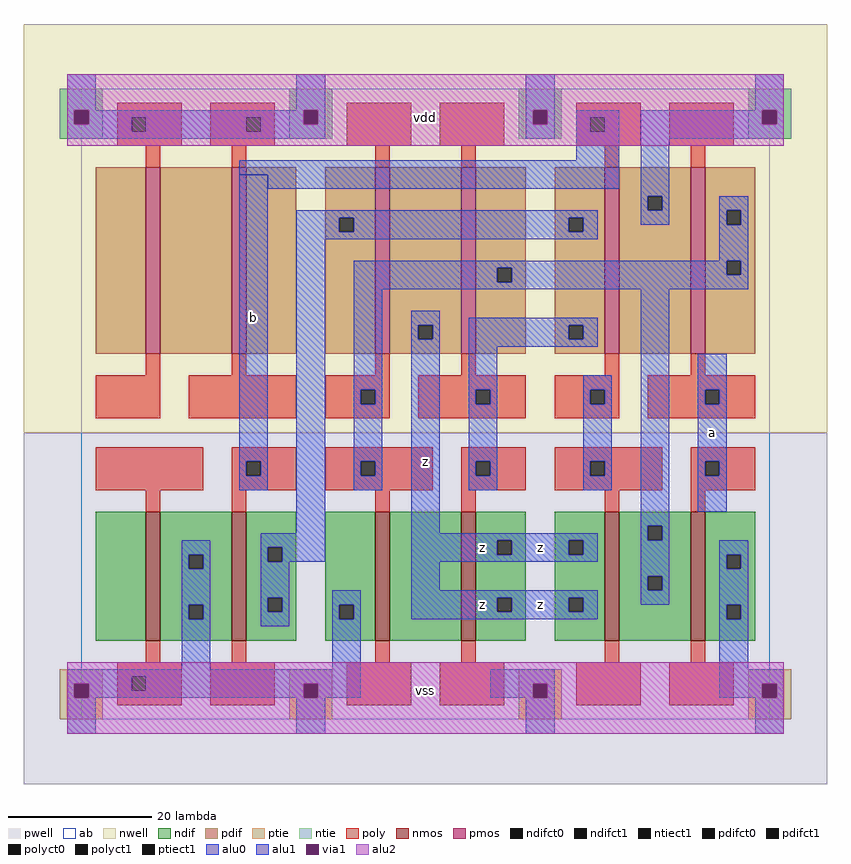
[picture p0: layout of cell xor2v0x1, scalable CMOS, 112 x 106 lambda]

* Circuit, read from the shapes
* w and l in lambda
.subckt xor2v0x1 a b vdd vss z
M1 vss vss n1 vss nfet w=18 l=2
M2 n2 b vss vss nfet w=18 l=2
M3 n3 n4 vss vss nfet w=18 l=2
M4 z n2 n3 vss nfet w=18 l=2
M5 n4 b z vss nfet w=18 l=2
M6 vss a n4 vss nfet w=18 l=2
M7 n5 vdd n6 vdd pfet w=26 l=2
M8 n7 vdd n5 vdd pfet w=26 l=2
M9 z n4 n2 vdd pfet w=26 l=2
M10 n4 n2 z vdd pfet w=26 l=2
M11 vdd b n2 vdd pfet w=26 l=2
M12 n4 a vdd vdd pfet w=26 l=2
.ends

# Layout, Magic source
magic
tech scmos
<< ab >>
rect 0 0 96 88
<< nwell >>
rect -8 40 104 97
<< pwell >>
rect -8 -9 104 40
<< poly >>
rect 5 84 14 86
rect 5 82 7 84
rect 9 82 14 84
rect 5 80 14 82
rect 18 84 27 86
rect 18 82 23 84
rect 25 82 27 84
rect 18 80 27 82
rect 37 80 46 86
rect 50 80 59 86
rect 69 84 78 86
rect 69 82 71 84
rect 73 82 78 84
rect 69 80 78 82
rect 82 80 91 86
rect 9 77 11 80
rect 21 77 23 80
rect 41 77 43 80
rect 53 77 55 80
rect 73 77 75 80
rect 85 77 87 80
rect 9 48 11 51
rect 21 48 23 51
rect 41 48 43 51
rect 53 48 55 51
rect 73 48 75 51
rect 85 48 87 51
rect 2 42 11 48
rect 15 42 30 48
rect 34 46 43 48
rect 34 44 39 46
rect 41 44 43 46
rect 34 42 43 44
rect 47 46 62 48
rect 47 44 55 46
rect 57 44 62 46
rect 47 42 62 44
rect 66 46 75 48
rect 66 44 71 46
rect 73 44 75 46
rect 66 42 75 44
rect 79 46 94 48
rect 79 44 87 46
rect 89 44 94 46
rect 79 42 94 44
rect 2 32 17 38
rect 21 36 30 38
rect 21 34 23 36
rect 25 34 30 36
rect 21 32 30 34
rect 34 36 49 38
rect 34 34 39 36
rect 41 34 49 36
rect 34 32 49 34
rect 53 36 62 38
rect 53 34 55 36
rect 57 34 62 36
rect 53 32 62 34
rect 66 36 81 38
rect 66 34 71 36
rect 73 34 81 36
rect 66 32 81 34
rect 85 36 94 38
rect 85 34 87 36
rect 89 34 94 36
rect 85 32 94 34
rect 9 29 11 32
rect 21 29 23 32
rect 41 29 43 32
rect 53 29 55 32
rect 73 29 75 32
rect 85 29 87 32
rect 9 8 11 11
rect 21 8 23 11
rect 41 8 43 11
rect 53 8 55 11
rect 73 8 75 11
rect 85 8 87 11
rect 5 6 14 8
rect 5 4 7 6
rect 9 4 14 6
rect 5 2 14 4
rect 18 2 27 8
rect 37 2 46 8
rect 50 2 59 8
rect 69 2 78 8
rect 82 2 91 8
<< ndif >>
rect 2 11 9 29
rect 11 23 21 29
rect 11 21 15 23
rect 17 21 21 23
rect 11 16 21 21
rect 11 14 15 16
rect 17 14 21 16
rect 11 11 21 14
rect 23 24 30 29
rect 23 22 26 24
rect 28 22 30 24
rect 23 17 30 22
rect 23 15 26 17
rect 28 15 30 17
rect 23 11 30 15
rect 34 16 41 29
rect 34 14 36 16
rect 38 14 41 16
rect 34 11 41 14
rect 43 11 53 29
rect 55 25 62 29
rect 55 23 58 25
rect 60 23 62 25
rect 55 17 62 23
rect 55 15 58 17
rect 60 15 62 17
rect 55 11 62 15
rect 66 25 73 29
rect 66 23 68 25
rect 70 23 73 25
rect 66 17 73 23
rect 66 15 68 17
rect 70 15 73 17
rect 66 11 73 15
rect 75 27 85 29
rect 75 25 79 27
rect 81 25 85 27
rect 75 20 85 25
rect 75 18 79 20
rect 81 18 85 20
rect 75 11 85 18
rect 87 23 94 29
rect 87 21 90 23
rect 92 21 94 23
rect 87 16 94 21
rect 87 14 90 16
rect 92 14 94 16
rect 87 11 94 14
<< pdif >>
rect 2 51 9 77
rect 11 51 21 77
rect 23 51 30 77
rect 34 70 41 77
rect 34 68 36 70
rect 38 68 41 70
rect 34 51 41 68
rect 43 55 53 77
rect 43 53 47 55
rect 49 53 53 55
rect 43 51 53 53
rect 55 63 62 77
rect 55 61 58 63
rect 60 61 62 63
rect 55 51 62 61
rect 66 70 73 77
rect 66 68 68 70
rect 70 68 73 70
rect 66 55 73 68
rect 66 53 68 55
rect 70 53 73 55
rect 66 51 73 53
rect 75 73 85 77
rect 75 71 79 73
rect 81 71 85 73
rect 75 51 85 71
rect 87 71 94 77
rect 87 69 90 71
rect 92 69 94 71
rect 87 64 94 69
rect 87 62 90 64
rect 92 62 94 64
rect 87 51 94 62
<< alu1 >>
rect -2 85 2 90
rect 30 85 34 90
rect -2 83 -1 85
rect 1 84 31 85
rect 1 83 7 84
rect -2 82 7 83
rect 9 82 23 84
rect 25 83 31 84
rect 33 83 34 85
rect 25 82 34 83
rect -2 81 34 82
rect 62 85 66 90
rect 94 85 98 90
rect 62 83 63 85
rect 65 83 66 85
rect 62 81 66 83
rect 22 36 26 76
rect 78 83 95 85
rect 97 83 98 85
rect 78 81 98 83
rect 78 73 82 81
rect 78 71 79 73
rect 81 71 82 73
rect 22 34 23 36
rect 25 34 26 36
rect 22 32 26 34
rect 78 69 82 71
rect 46 55 50 57
rect 46 53 47 55
rect 49 53 50 55
rect 14 23 18 25
rect 14 21 15 23
rect 17 21 18 23
rect 14 16 18 21
rect 14 14 15 16
rect 17 14 18 16
rect 14 7 18 14
rect 46 26 50 53
rect 86 46 90 51
rect 86 44 87 46
rect 89 44 90 46
rect 86 36 90 44
rect 86 34 87 36
rect 89 34 90 36
rect 86 29 90 34
rect 46 25 72 26
rect 46 23 58 25
rect 60 23 68 25
rect 70 23 72 25
rect 46 22 72 23
rect 46 18 50 22
rect 35 16 39 18
rect 35 14 36 16
rect 38 14 39 16
rect 46 17 72 18
rect 46 15 58 17
rect 60 15 68 17
rect 70 15 72 17
rect 89 23 93 25
rect 89 21 90 23
rect 92 21 93 23
rect 89 16 93 21
rect 46 14 72 15
rect 89 14 90 16
rect 92 14 93 16
rect 35 7 39 14
rect 89 7 93 14
rect -2 6 39 7
rect -2 5 7 6
rect -2 3 -1 5
rect 1 4 7 5
rect 9 5 39 6
rect 9 4 31 5
rect 1 3 31 4
rect 33 3 39 5
rect 57 5 66 7
rect 57 3 63 5
rect 65 3 66 5
rect 89 5 98 7
rect 89 3 95 5
rect 97 3 98 5
rect -2 -2 2 3
rect 30 -2 34 3
rect 62 -2 66 3
rect 94 -2 98 3
<< alu2 >>
rect -2 85 98 90
rect -2 83 -1 85
rect 1 83 31 85
rect 33 83 63 85
rect 65 83 95 85
rect 97 83 98 85
rect -2 80 98 83
rect -2 5 98 8
rect -2 3 -1 5
rect 1 3 31 5
rect 33 3 63 5
rect 65 3 95 5
rect 97 3 98 5
rect -2 -2 98 3
<< ptie >>
rect -3 5 3 7
rect -3 3 -1 5
rect 1 3 3 5
rect -3 0 3 3
rect 29 5 35 7
rect 29 3 31 5
rect 33 3 35 5
rect 29 0 35 3
rect 61 5 67 7
rect 61 3 63 5
rect 65 3 67 5
rect 61 0 67 3
rect 93 5 99 7
rect 93 3 95 5
rect 97 3 99 5
rect 93 0 99 3
<< ntie >>
rect -3 85 3 88
rect -3 83 -1 85
rect 1 83 3 85
rect -3 81 3 83
rect 29 85 35 88
rect 29 83 31 85
rect 33 83 35 85
rect 29 81 35 83
rect 61 85 67 88
rect 61 83 63 85
rect 65 83 67 85
rect 61 81 67 83
rect 93 85 99 88
rect 93 83 95 85
rect 97 83 99 85
rect 93 81 99 83
<< nmos >>
rect 9 11 11 29
rect 21 11 23 29
rect 41 11 43 29
rect 53 11 55 29
rect 73 11 75 29
rect 85 11 87 29
<< pmos >>
rect 9 51 11 77
rect 21 51 23 77
rect 41 51 43 77
rect 53 51 55 77
rect 73 51 75 77
rect 85 51 87 77
<< polyct0 >>
rect 71 82 73 84
rect 39 44 41 46
rect 55 44 57 46
rect 71 44 73 46
rect 39 34 41 36
rect 55 34 57 36
rect 71 34 73 36
<< polyct1 >>
rect 7 82 9 84
rect 23 82 25 84
rect 87 44 89 46
rect 23 34 25 36
rect 87 34 89 36
rect 7 4 9 6
<< ndifct0 >>
rect 26 22 28 24
rect 26 15 28 17
rect 79 25 81 27
rect 79 18 81 20
<< ndifct1 >>
rect 15 21 17 23
rect 15 14 17 16
rect 36 14 38 16
rect 58 23 60 25
rect 58 15 60 17
rect 68 23 70 25
rect 68 15 70 17
rect 90 21 92 23
rect 90 14 92 16
<< ntiect1 >>
rect -1 83 1 85
rect 31 83 33 85
rect 63 83 65 85
rect 95 83 97 85
<< ptiect1 >>
rect -1 3 1 5
rect 31 3 33 5
rect 63 3 65 5
rect 95 3 97 5
<< pdifct0 >>
rect 36 68 38 70
rect 58 61 60 63
rect 68 68 70 70
rect 68 53 70 55
rect 90 69 92 71
rect 90 62 92 64
<< pdifct1 >>
rect 47 53 49 55
rect 79 71 81 73
<< alu0 >>
rect 69 84 75 85
rect 69 82 71 84
rect 73 82 75 84
rect 69 78 75 82
rect 22 76 75 78
rect 26 74 75 76
rect 30 70 72 71
rect 30 68 36 70
rect 38 68 68 70
rect 70 68 72 70
rect 89 71 93 73
rect 89 69 90 71
rect 92 69 93 71
rect 30 67 72 68
rect 30 26 34 67
rect 89 64 93 69
rect 38 63 90 64
rect 38 61 58 63
rect 60 62 90 63
rect 92 62 93 64
rect 60 61 93 62
rect 38 60 93 61
rect 38 46 42 60
rect 38 44 39 46
rect 41 44 42 46
rect 38 36 42 44
rect 38 34 39 36
rect 41 34 42 36
rect 38 32 42 34
rect 25 24 34 26
rect 25 22 26 24
rect 28 22 34 24
rect 54 55 72 56
rect 54 53 68 55
rect 70 53 72 55
rect 54 52 72 53
rect 54 46 58 52
rect 54 44 55 46
rect 57 44 58 46
rect 54 36 58 44
rect 54 34 55 36
rect 57 34 58 36
rect 54 32 58 34
rect 70 46 74 48
rect 70 44 71 46
rect 73 44 74 46
rect 70 36 74 44
rect 70 34 71 36
rect 73 34 74 36
rect 70 32 74 34
rect 78 27 82 60
rect 78 25 79 27
rect 81 25 82 27
rect 25 17 29 22
rect 78 20 82 25
rect 78 18 79 20
rect 81 18 82 20
rect 25 15 26 17
rect 28 15 29 17
rect 25 13 29 15
rect 78 16 82 18
<< via1 >>
rect -1 83 1 85
rect 31 83 33 85
rect 63 83 65 85
rect 95 83 97 85
rect -1 3 1 5
rect 31 3 33 5
rect 63 3 65 5
rect 95 3 97 5
<< labels >>
rlabel alu1 24 56 24 56 6 b
rlabel alu1 64 16 64 16 6 z
rlabel alu1 56 16 56 16 6 z
rlabel alu1 56 24 56 24 6 z
rlabel alu1 64 24 64 24 6 z
rlabel alu1 48 36 48 36 6 z
rlabel alu1 88 40 88 40 6 a
rlabel alu2 48 4 48 4 6 vss
rlabel alu2 48 84 48 84 6 vdd
<< end >>
